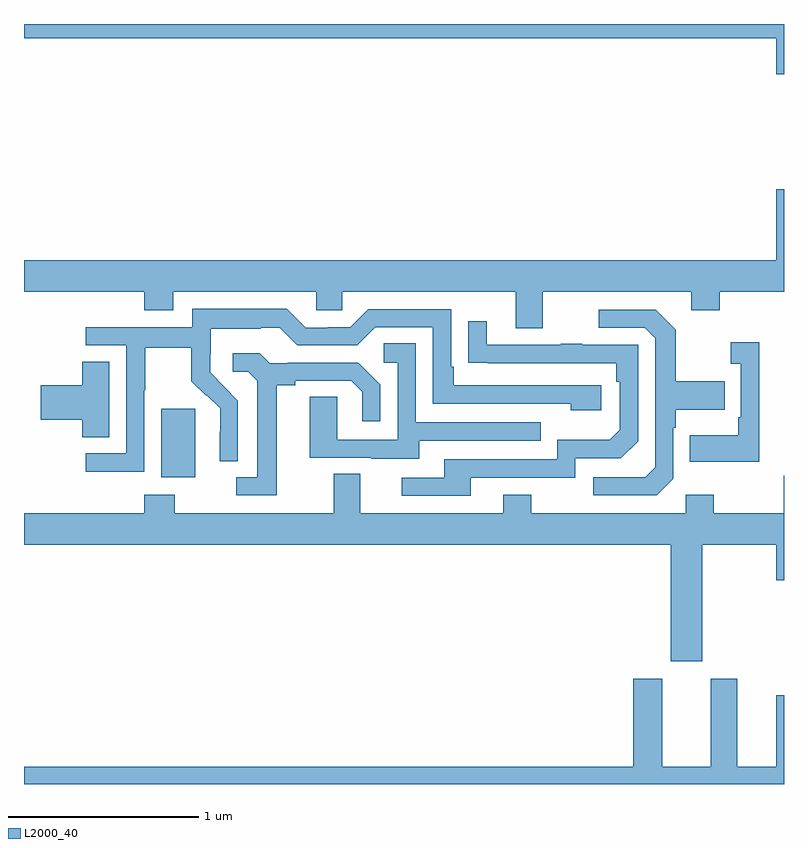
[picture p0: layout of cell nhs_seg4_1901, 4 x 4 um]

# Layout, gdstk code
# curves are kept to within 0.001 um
import gdstk
lib = gdstk.Library(unit=1e-6, precision=1e-09)
def R(c, l, rs):  # rectangles x0, y0, x1, y1
    for r in rs: c.add(gdstk.rectangle(r[:2], r[2:], *l))
def P(c, l, *ps):  # polygons
    for p in ps: c.add(gdstk.Polygon(p, *l))
L2000_40 = (2000, 40)

nhs_seg4_1901 = lib.new_cell('nhs_seg4_1901')
R(nhs_seg4_1901, L2000_40, [(209.723,790.514,209.902,790.875)])
P(nhs_seg4_1901, L2000_40, [(213,792.9),(209,792.9),(209,792.824),(212.96,792.824),(212.96,792.636),(213,792.636)],
  [(211.729,791.492),(212.513,791.492),(212.513,791.393),(212.661,791.393),(212.661,791.492),(213,791.492),(213,792.031),(212.96,792.031),(212.96,791.656),(209,791.656),(209,791.492),(209.633,791.492),(209.633,791.393),(209.785,791.393),(209.785,791.492),(210.537,791.492),(210.537,791.394),(210.675,791.394),(210.675,791.492),(211.589,791.492),(211.589,791.298),(211.729,791.298)],
  [(209.634,790.972),(209.637,790.972),(209.637,791.196),(209.881,791.196),(209.881,791.021),(209.958,790.944),(209.961,790.947),(210.032,790.877),(210.032,790.754),(210.03,790.754),(210.03,790.6),(210.126,790.6),(210.126,790.918),(209.98,791.066),(209.98,791.163),(209.982,791.163),(209.982,791.297),(210.245,791.297),(210.245,791.301),(210.345,791.301),(210.438,791.208),(210.753,791.208),(210.849,791.304),(211.152,791.304),(211.152,790.902),(211.877,790.902),(211.877,790.868),(212.038,790.868),(212.038,790.998),(211.261,790.998),(211.261,791.095),(211.248,791.095),(211.248,791.4),(210.813,791.4),(210.717,791.304),(210.599,791.304),(210.599,791.301),(210.483,791.301),(210.383,791.401),(209.886,791.401),(209.886,791.304),(209.325,791.304),(209.325,791.208),(209.538,791.208),(209.538,790.641),(209.325,790.641),(209.325,790.543),(209.634,790.543)],
  [(212.418,790.506),(212.418,790.775),(212.431,790.775),(212.431,790.871),(212.687,790.871),(212.687,791.019),(212.431,791.019),(212.431,791.291),(212.325,791.397),(212.025,791.397),(212.025,791.301),(212.268,791.301),(212.322,791.247),(212.322,790.566),(212.271,790.515),(211.995,790.515),(211.995,790.419),(212.331,790.419)],
  [(211.351,790.512),(211.902,790.512),(211.902,790.614),(212.142,790.614),(212.232,790.704),(212.232,791.211),(211.937,791.211),(211.937,791.216),(211.825,791.216),(211.825,791.211),(211.435,791.211),(211.435,791.335),(211.339,791.335),(211.339,791.116),(212.116,791.115),(212.116,791.018),(212.136,791.018),(212.136,790.764),(212.083,790.711),(211.806,790.711),(211.806,790.608),(211.211,790.608),(211.211,790.512),(210.987,790.512),(210.987,790.416),(211.351,790.416)],
  [(212.87,791.224),(212.721,791.224),(212.721,791.111),(212.772,791.111),(212.772,790.831),(212.76,790.831),(212.76,790.735),(212.503,790.735),(212.503,790.595),(212.87,790.595)],
  [(211.081,790.707),(211.721,790.707),(211.721,790.803),(211.062,790.803),(211.062,791.219),(210.894,791.219),(210.894,791.118),(210.966,791.118),(210.966,790.713),(210.648,790.713),(210.648,790.937),(210.503,790.937),(210.503,790.617),(210.827,790.617),(210.827,790.613),(211.081,790.613)],
  [(210.331,791),(210.427,791),(210.427,791.022),(210.722,791.022),(210.779,790.965),(210.779,790.809),(210.876,790.809),(210.876,791.002),(210.76,791.118),(210.388,791.118),(210.388,791.115),(210.294,791.115),(210.242,791.167),(210.099,791.167),(210.099,791.07),(210.18,791.07),(210.227,791.023),(210.227,790.515),(210.117,790.515),(210.117,790.419),(210.331,790.419)],
  [(209.449,791.123),(209.306,791.123),(209.306,791),(209.088,791),(209.088,790.817),(209.306,790.817),(209.306,790.726),(209.449,790.726)],
  [(210.629,790.532),(210.629,790.324),(209.793,790.324),(209.793,790.423),(209.633,790.423),(209.633,790.324),(209,790.324),(209,790.16),(212.405,790.16),(212.405,789.546),(212.569,789.546),(212.569,790.16),(212.96,790.16),(212.96,789.972),(213,789.972),(213,790.523),(212.998,790.523),(212.998,790.324),(212.631,790.324),(212.631,790.423),(212.484,790.423),(212.484,790.324),(211.671,790.324),(211.671,790.423),(211.523,790.423),(211.523,790.324),(210.769,790.324),(210.769,790.532)],
  [(212.615,789.454),(212.615,788.992),(212.359,788.992),(212.359,789.454),(212.207,789.454),(212.207,788.992),(209,788.992),(209,788.9),(213,788.9),(213,789.367),(212.96,789.367),(212.96,788.992),(212.755,788.992),(212.755,789.454)])

lib.write_gds('nhs_seg4_1901.gds')
